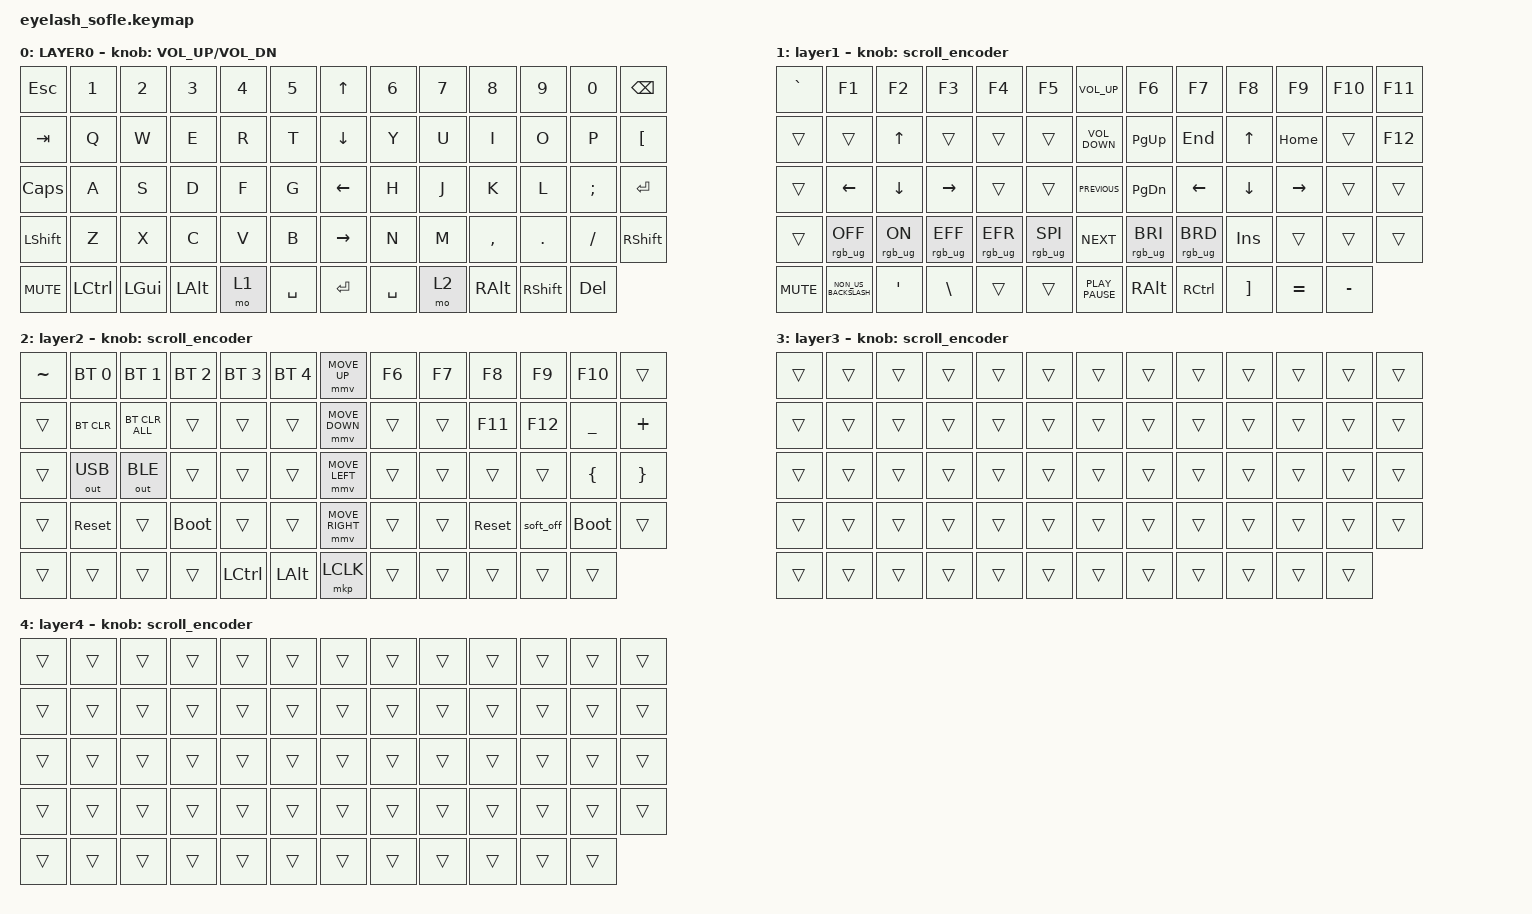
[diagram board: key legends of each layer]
#define ZMK_POINTING_DEFAULT_MOVE_VAL 1200  // 600
#define ZMK_POINTING_DEFAULT_SCRL_VAL 25   // 10

#include <input/processors.dtsi>
#include <zephyr/dt-bindings/input/input-event-codes.h>
#include <behaviors.dtsi>
#include <dt-bindings/zmk/bt.h>
#include <dt-bindings/zmk/keys.h>
#include <dt-bindings/zmk/outputs.h>
#include <dt-bindings/zmk/pointing.h>
#include <dt-bindings/zmk/rgb.h>

&mmv_input_listener { input-processors = <&zip_xy_scaler 2 1>; };

&msc_input_listener { input-processors = <&zip_scroll_scaler 2 1>; };

&msc {
    acceleration-exponent = <1>;      // 0
    time-to-max-speed-ms = <100>;       // 300
    delay-ms = <0>;                   // 0
};

&mmv {
    time-to-max-speed-ms = <500>;
    acceleration-exponent = <1>;
    trigger-period-ms = <16>;
};

&soft_off { hold-time-ms = <2000>; };

/ {
    scroll_encoder: scroll_encoder {
        compatible = "zmk,behavior-sensor-rotate";
        #sensor-binding-cells = <0>;
        bindings = <&msc SCRL_DOWN>, <&msc SCRL_UP>;

        tap-ms = <100>;
    };

    behaviors {
    };

    combos {
        compatible = "zmk,combos";

        softoff {
            bindings = <&soft_off>;
            key-positions = <14 28 40>;
        };
    };

    macros {
        SHIFT_MCLK: SHIFT_MCLK {
            compatible = "zmk,behavior-macro";
            #binding-cells = <0>;
            bindings =
                <&macro_press>,
                <&kp LEFT_SHIFT>,
                <&macro_press>,
                <&mkp MB3>,
                <&macro_pause_for_release>,
                <&macro_release>,
                <&kp LEFT_SHIFT &mkp MB3>;

            label = "SHIFT_MCLK";
        };
    };

    keymap {
        compatible = "zmk,keymap";

        layer0 {
            bindings = <
&kp ESC     &kp N1            &kp N2        &kp N3        &kp N4  &kp N5       &kp UP_ARROW     &kp N6     &kp N7  &kp N8         &kp N9           &kp N0      &kp BACKSPACE
&kp TAB     &kp Q             &kp W         &kp E         &kp R   &kp T        &kp DOWN_ARROW   &kp Y      &kp U   &kp I          &kp O            &kp P       &kp LEFT_BRACKET
&kp CAPS    &kp A             &kp S         &kp D         &kp F   &kp G        &kp LEFT_ARROW   &kp H      &kp J   &kp K          &kp L            &kp SEMI    &kp RETURN
&kp LSHFT   &kp Z             &kp X         &kp C         &kp V   &kp B        &kp RIGHT_ARROW  &kp N      &kp M   &kp COMMA      &kp DOT          &kp FSLH    &kp RIGHT_SHIFT
&kp C_MUTE  &kp LEFT_CONTROL  &kp LEFT_GUI  &kp LEFT_ALT  &mo 1   &kp SPACE    &kp ENTER        &kp SPACE  &mo 2   &kp RIGHT_ALT  &kp RIGHT_SHIFT  &kp DELETE
            >;

            sensor-bindings = <&inc_dec_kp C_VOLUME_UP C_VOL_DN>;
            display-name = "LAYER0";
        };

        layer_1 {
            bindings = <
&kp GRAVE   &kp F1                &kp F2          &kp F3           &kp F4           &kp F5             &kp K_VOLUME_UP    &kp F6           &kp F7             &kp F8             &kp F9     &kp F10    &kp F11
&trans      &trans                &kp UP_ARROW    &trans           &trans           &trans             &kp K_VOLUME_DOWN  &kp PG_UP        &kp END            &kp UP             &kp HOME   &trans     &kp F12
&trans      &kp LEFT_ARROW        &kp DOWN_ARROW  &kp RIGHT_ARROW  &trans           &trans             &kp K_PREVIOUS     &kp PG_DN        &kp LEFT           &kp DOWN           &kp RIGHT  &trans     &trans
&trans      &rgb_ug RGB_OFF       &rgb_ug RGB_ON  &rgb_ug RGB_EFF  &rgb_ug RGB_EFR  &rgb_ug RGB_SPI    &kp K_NEXT         &rgb_ug RGB_BRI  &rgb_ug RGB_BRD    &kp INSERT         &trans     &trans     &trans
&kp C_MUTE  &kp NON_US_BACKSLASH  &kp APOSTROPHE  &kp BACKSLASH    &trans           &trans             &kp K_PLAY_PAUSE   &kp RIGHT_ALT    &kp RIGHT_CONTROL  &kp RIGHT_BRACKET  &kp EQUAL  &kp MINUS
            >;

            display-name = "layer1";
            sensor-bindings = <&scroll_encoder>;
        };

        layer_2 {
            bindings = <
&kp TILDE  &bt BT_SEL 0  &bt BT_SEL 1    &bt BT_SEL 2  &bt BT_SEL 3      &bt BT_SEL 4    &mmv MOVE_UP     &kp F6  &kp F7  &kp F8      &kp F9     &kp F10      &trans
&trans     &bt BT_CLR    &bt BT_CLR_ALL  &trans        &trans            &trans          &mmv MOVE_DOWN   &trans  &trans  &kp F11     &kp F12    &kp UNDER    &kp PLUS
&trans     &out OUT_USB  &out OUT_BLE    &trans        &trans            &trans          &mmv MOVE_LEFT   &trans  &trans  &trans      &trans     &kp LBRC     &kp RBRC
&trans     &sys_reset    &trans          &bootloader   &trans            &trans          &mmv MOVE_RIGHT  &trans  &trans  &sys_reset  &soft_off  &bootloader  &trans
&trans     &trans        &trans          &trans        &kp LEFT_CONTROL  &kp LEFT_ALT    &mkp LCLK        &trans  &trans  &trans      &trans     &trans
            >;

            display-name = "layer2";
            sensor-bindings = <&scroll_encoder>;
        };

        layer_3 {
            bindings = <
&trans  &trans  &trans  &trans  &trans  &trans    &trans  &trans  &trans  &trans  &trans  &trans  &trans
&trans  &trans  &trans  &trans  &trans  &trans    &trans  &trans  &trans  &trans  &trans  &trans  &trans
&trans  &trans  &trans  &trans  &trans  &trans    &trans  &trans  &trans  &trans  &trans  &trans  &trans
&trans  &trans  &trans  &trans  &trans  &trans    &trans  &trans  &trans  &trans  &trans  &trans  &trans
&trans  &trans  &trans  &trans  &trans  &trans    &trans  &trans  &trans  &trans  &trans  &trans
            >;

            display-name = "layer3";
            sensor-bindings = <&scroll_encoder>;
        };

        layer_4 {
            bindings = <
&trans  &trans  &trans  &trans  &trans  &trans    &trans  &trans  &trans  &trans  &trans  &trans  &trans
&trans  &trans  &trans  &trans  &trans  &trans    &trans  &trans  &trans  &trans  &trans  &trans  &trans
&trans  &trans  &trans  &trans  &trans  &trans    &trans  &trans  &trans  &trans  &trans  &trans  &trans
&trans  &trans  &trans  &trans  &trans  &trans    &trans  &trans  &trans  &trans  &trans  &trans  &trans
&trans  &trans  &trans  &trans  &trans  &trans    &trans  &trans  &trans  &trans  &trans  &trans
            >;

            display-name = "layer4";
            sensor-bindings = <&scroll_encoder>;
        };
    };
};
